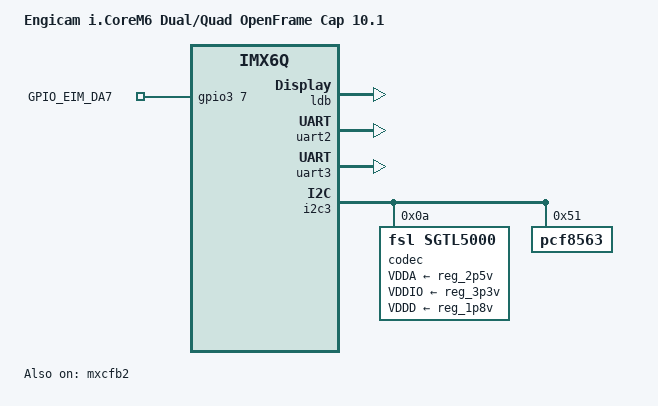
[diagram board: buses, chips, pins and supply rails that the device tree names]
/*
 * Copyright (C) 2013 Freescale Semiconductor, Inc.
 *
 * This program is free software; you can redistribute it and/or modify
 * it under the terms of the GNU General Public License version 2 as
 * published by the Free Software Foundation.
 */

/dts-v1/;

#include "imx6q.dtsi"
#include "imx6qdl-icore.dtsi"

/ {
	model = "Engicam i.CoreM6 Dual/Quad OpenFrame Cap 10.1";
	compatible = "fsl,imx6-icore", "fsl,imx6q";

	sound {
		compatible = "fsl,imx6-icore-sgtl5000",
			     "fsl,imx-audio-sgtl5000";
		model = "imx6q-icore-sgtl5000";
		cpu-dai = <&ssi1>;
		audio-codec = <&codec>;
		audio-routing =
			"MIC_IN", "Mic Jack",
			"Mic Jack", "Mic Bias",
			"Headphone Jack", "HP_OUT";
		mux-int-port = <1>;
		mux-ext-port = <4>;
	};
	
	gpio_export {
		compatible = "gpio-export";
		GPIO_EIM_DA7 {
			gpio-export,name = "GPIO_EIM_DA7";
			gpio-export,input = <1>;
			gpios = <&gpio3 7 0>;
		};		
	};
	
};


&ldb {
	status = "okay";

	lvds-channel@0 {
		fsl,data-mapping = "spwg";
		fsl,data-width = <24>;
		status = "okay";
		crtc = "ipu1-di0";
		primary;

		display-timings {
                        native-mode = <&timing1>;
                        timing1: hsd100pxn1 {
                                clock-frequency = <60000000>;
                                hactive = <1280>;
                                vactive = <800>;
                                hback-porch = <40>;
                                hfront-porch = <40>;
                                vback-porch = <10>;
                                vfront-porch = <3>;
                                hsync-len = <80>;
                                vsync-len = <10>;
                        };
                };
	};
};


&mxcfb1 {
	status = "disabled";
};

&mxcfb2 {
	status = "okay";
};

&uart2 {
	status = "okay";
};

&uart3 {
	fsl,uart-has-rtscts;
	status = "okay";
};

&usbotg {
	status = "disabled";
};


&i2c3 {

	codec: sgtl5000@0a {
		compatible = "fsl,sgtl5000";
		reg = <0x0a>;
		clocks = <&clks 201>;
		VDDA-supply = <&reg_2p5v>;
		VDDIO-supply = <&reg_3p3v>;
		VDDD-supply = <&reg_1p8v>;
	};
	
	pcf8563: rtc@51 {
		compatible = "pcf8563";
		reg = <0x51>;
	};
};

&iomuxc {
	pinctrl-names = "default";
	pinctrl-0 = <&pinctrl_hog>;	
	hog {
		pinctrl_hog: hoggrp {
			fsl,pins = <
				MX6QDL_PAD_EIM_DA7__GPIO3_IO07 0x1f059 /* EIM_DA07 forced to GPIO in */
			>;
		};
	};
};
